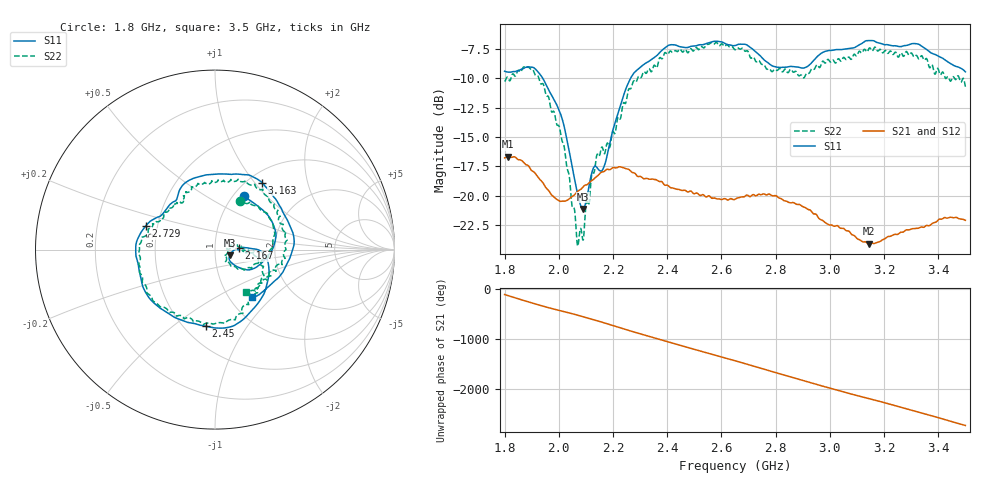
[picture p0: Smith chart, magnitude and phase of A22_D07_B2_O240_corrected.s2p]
! Created with skrf 1.9.0 (http://scikit-rf.org).
# Hz S RI R 50.0
!freq ReS11 ImS11 ReS21 ImS21 ReS12 ImS12 ReS22 ImS22
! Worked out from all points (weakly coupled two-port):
!   1601 points, 1.8 GHz to 3.5 GHz, reference 50 ohm
!   highest |S21| = -16.66 dB at 1.812 GHz (marker M1); lowest = -24.1 dB at 3.144 GHz (marker M2)
!   lowest |S11| = -21.1 dB at 2.09 GHz (marker M3), VSWR 1.19, Z = 58.8 - j3.7 ohm
!   |S11| at or under -10 dB: 1.941 GHz to 2.265 GHz (323.7 MHz wide, 15.4 % of centre)
!   |S22| runs from -24.3 to -6.9 dB; largest |S21 - S12| = 0.0027
!   S11 on the Smith chart (normalised r, x): 1.8 GHz: 1.12, +0.75; 2.167 GHz: 1.31, +0.02; 2.45 GHz: 0.63, -0.66; 2.729 GHz: 0.43, +0.14; 3.163 GHz: 1.16, +1.09; 3.5 GHz: 1.27, -0.76
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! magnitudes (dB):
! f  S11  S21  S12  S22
! 1.8 GHz  -9.4  -16.8  -16.8  -10.3
! 1.812 GHz  -9.5  -16.7  -16.7  -9.9
! 1.887 GHz  -9.0  -17.4  -17.5  -9.0
! 1.942 GHz  -10.1  -18.9  -18.9  -10.5
! 2.011 GHz  -13.4  -20.5  -20.5  -15.3
! 2.067 GHz  -19.6  -19.7  -19.7  -23.8
! 2.084 GHz  -21.0  -19.4  -19.4  -23.0
! 2.09 GHz  -21.1  -19.2  -19.3  -23.8
! 2.13 GHz  -17.5  -18.5  -18.5  -18.0
! 2.167 GHz  -17.5  -17.9  -17.9  -16.4
! 2.26 GHz  -10.2  -17.8  -17.8  -10.9
! 2.367 GHz  -7.9  -18.7  -18.7  -8.6
! 2.45 GHz  -7.3  -19.5  -19.5  -7.6
! 2.65 GHz  -7.2  -20.3  -20.3  -7.6
! 2.729 GHz  -7.8  -20.0  -20.0  -8.6
! 2.803 GHz  -9.0  -20.0  -20.1  -9.3
! 2.934 GHz  -8.6  -21.4  -21.4  -9.2
! 3.144 GHz  -6.8  -24.1  -24.0  -7.5
! 3.163 GHz  -6.8  -24.1  -24.0  -7.4
! 3.217 GHz  -7.2  -23.4  -23.4  -7.8
! 3.325 GHz  -7.1  -22.8  -22.7  -8.2
! 3.5 GHz  -9.4  -22.1  -22.1  -10.7
